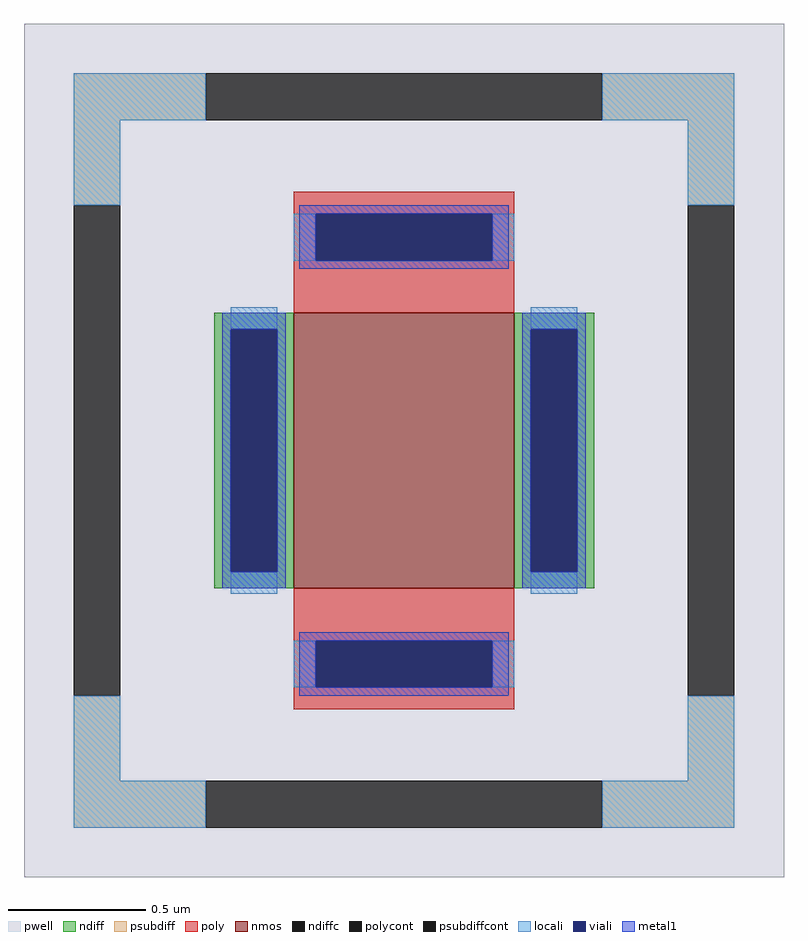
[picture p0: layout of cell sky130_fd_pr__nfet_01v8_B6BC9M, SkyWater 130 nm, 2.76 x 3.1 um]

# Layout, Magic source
magic
tech sky130A
<< pwell >>
rect -138 -155 138 155
<< nmos >>
rect -40 -50 40 50
<< ndiff >>
rect -69 44 -40 50
rect -69 -44 -63 44
rect -46 -44 -40 44
rect -69 -50 -40 -44
rect 40 44 69 50
rect 40 -44 46 44
rect 63 -44 69 44
rect 40 -50 69 -44
<< ndiffc >>
rect -63 -44 -46 44
rect 46 -44 63 44
<< psubdiff >>
rect -120 120 -72 137
rect 72 120 120 137
rect -120 89 -103 120
rect 103 89 120 120
rect -120 -120 -103 -89
rect 103 -120 120 -89
rect -120 -137 -72 -120
rect 72 -137 120 -120
<< psubdiffcont >>
rect -72 120 72 137
rect -120 -89 -103 89
rect 103 -89 120 89
rect -72 -137 72 -120
<< poly >>
rect -40 86 40 94
rect -40 69 -32 86
rect 32 69 40 86
rect -40 50 40 69
rect -40 -69 40 -50
rect -40 -86 -32 -69
rect 32 -86 40 -69
rect -40 -94 40 -86
<< polycont >>
rect -32 69 32 86
rect -32 -86 32 -69
<< locali >>
rect -120 120 -72 137
rect 72 120 120 137
rect -120 89 -103 120
rect 103 89 120 120
rect -40 69 -32 86
rect 32 69 40 86
rect -63 44 -46 52
rect -63 -52 -46 -44
rect 46 44 63 52
rect 46 -52 63 -44
rect -40 -86 -32 -69
rect 32 -86 40 -69
rect -120 -120 -103 -89
rect 103 -120 120 -89
rect -120 -137 -72 -120
rect 72 -137 120 -120
<< viali >>
rect -32 69 32 86
rect -63 -44 -46 44
rect 46 -44 63 44
rect -32 -86 32 -69
<< metal1 >>
rect -38 86 38 89
rect -38 69 -32 86
rect 32 69 38 86
rect -38 66 38 69
rect -66 44 -43 50
rect -66 -44 -63 44
rect -46 -44 -43 44
rect -66 -50 -43 -44
rect 43 44 66 50
rect 43 -44 46 44
rect 63 -44 66 44
rect 43 -50 66 -44
rect -38 -69 38 -66
rect -38 -86 -32 -69
rect 32 -86 38 -69
rect -38 -89 38 -86
<< properties >>
string FIXED_BBOX -111 -128 111 128
string gencell sky130_fd_pr__nfet_01v8
string library sky130
string parameters w 1 l 0.8 m 1 nf 1 diffcov 100 polycov 100 guard 1 glc 1 grc 1 gtc 1 gbc 1 tbcov 100 rlcov 100 topc 1 botc 1 poverlap 0 doverlap 1 lmin 0.15 wmin 0.42 compatible {sky130_fd_pr__nfet_01v8 sky130_fd_pr__nfet_01v8_lvt  sky130_fd_bs_flash__special_sonosfet_star  sky130_fd_pr__nfet_g5v0d10v5 sky130_fd_pr__nfet_05v0_nvt  sky130_fd_pr__nfet_03v3_nvt} full_metal 1 viasrc 100 viadrn 100 viagate 100 viagb 0 viagr 0 viagl 0 viagt 0
<< end >>
